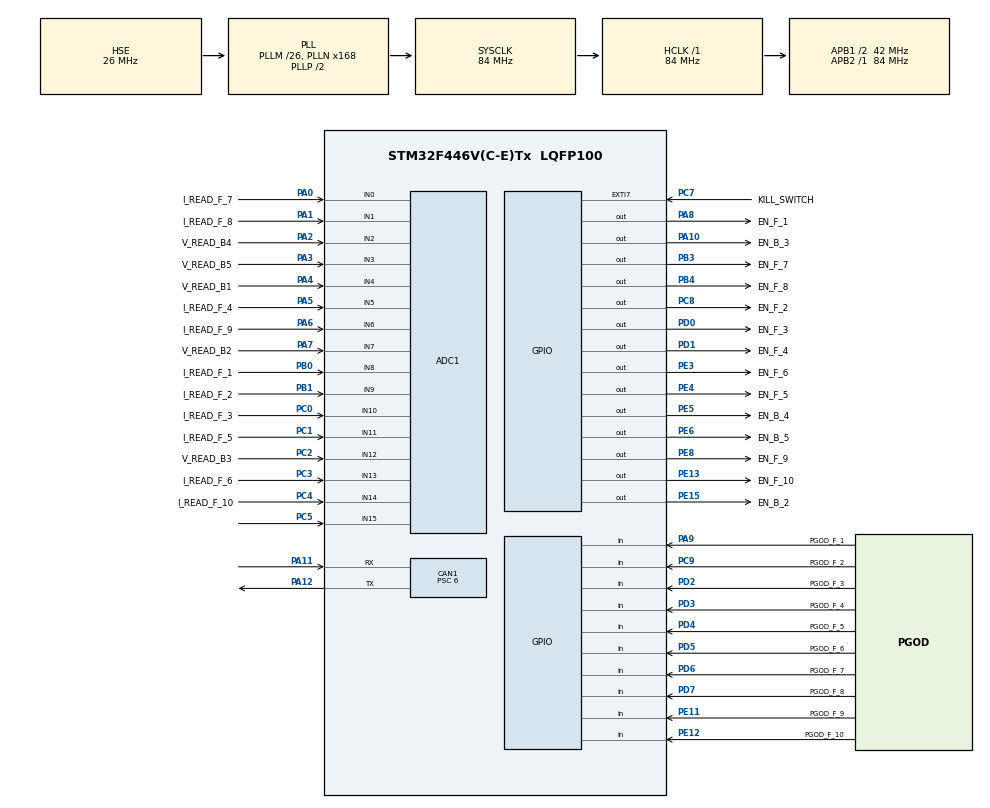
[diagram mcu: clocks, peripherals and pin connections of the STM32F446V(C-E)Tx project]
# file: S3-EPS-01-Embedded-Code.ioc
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ADC1.Channel-0\#ChannelRegularConversion=ADC_CHANNEL_8
ADC1.Channel-1\#ChannelRegularConversion=ADC_CHANNEL_9
ADC1.Channel-10\#ChannelRegularConversion=ADC_CHANNEL_4
ADC1.Channel-11\#ChannelRegularConversion=ADC_CHANNEL_7
ADC1.Channel-12\#ChannelRegularConversion=ADC_CHANNEL_15
ADC1.Channel-13\#ChannelRegularConversion=ADC_CHANNEL_2
ADC1.Channel-15\#ChannelRegularConversion=ADC_CHANNEL_3
ADC1.Channel-2\#ChannelRegularConversion=ADC_CHANNEL_10
ADC1.Channel-3\#ChannelRegularConversion=ADC_CHANNEL_5
ADC1.Channel-4\#ChannelRegularConversion=ADC_CHANNEL_11
ADC1.Channel-5\#ChannelRegularConversion=ADC_CHANNEL_13
ADC1.Channel-6\#ChannelRegularConversion=ADC_CHANNEL_0
ADC1.Channel-7\#ChannelRegularConversion=ADC_CHANNEL_1
ADC1.Channel-8\#ChannelRegularConversion=ADC_CHANNEL_6
ADC1.Channel-9\#ChannelRegularConversion=ADC_CHANNEL_14
ADC1.ContinuousConvMode=ENABLE
ADC1.DMAContinuousRequests=ENABLE
ADC1.DataAlign=ADC_DATAALIGN_RIGHT
ADC1.EOCSelection=ADC_EOC_SEQ_CONV
ADC1.NbrOfConversion=15
ADC1.NbrOfConversionFlag=1
ADC1.Rank-0\#ChannelRegularConversion=1
ADC1.Rank-1\#ChannelRegularConversion=2
ADC1.Rank-10\#ChannelRegularConversion=11
ADC1.Rank-11\#ChannelRegularConversion=12
ADC1.Rank-12\#ChannelRegularConversion=13
ADC1.Rank-13\#ChannelRegularConversion=14
ADC1.Rank-15\#ChannelRegularConversion=15
ADC1.Rank-2\#ChannelRegularConversion=3
ADC1.Rank-3\#ChannelRegularConversion=4
ADC1.Rank-4\#ChannelRegularConversion=5
ADC1.Rank-5\#ChannelRegularConversion=6
ADC1.Rank-6\#ChannelRegularConversion=7
ADC1.Rank-7\#ChannelRegularConversion=8
ADC1.Rank-8\#ChannelRegularConversion=9
ADC1.Rank-9\#ChannelRegularConversion=10
ADC1.SamplingTime-0\#ChannelRegularConversion=ADC_SAMPLETIME_480CYCLES
ADC1.SamplingTime-1\#ChannelRegularConversion=ADC_SAMPLETIME_480CYCLES
ADC1.SamplingTime-10\#ChannelRegularConversion=ADC_SAMPLETIME_480CYCLES
ADC1.SamplingTime-11\#ChannelRegularConversion=ADC_SAMPLETIME_480CYCLES
ADC1.SamplingTime-12\#ChannelRegularConversion=ADC_SAMPLETIME_480CYCLES
ADC1.SamplingTime-13\#ChannelRegularConversion=ADC_SAMPLETIME_480CYCLES
ADC1.SamplingTime-15\#ChannelRegularConversion=ADC_SAMPLETIME_480CYCLES
ADC1.SamplingTime-2\#ChannelRegularConversion=ADC_SAMPLETIME_480CYCLES
ADC1.SamplingTime-3\#ChannelRegularConversion=ADC_SAMPLETIME_480CYCLES
ADC1.SamplingTime-4\#ChannelRegularConversion=ADC_SAMPLETIME_480CYCLES
ADC1.SamplingTime-5\#ChannelRegularConversion=ADC_SAMPLETIME_480CYCLES
ADC1.SamplingTime-6\#ChannelRegularConversion=ADC_SAMPLETIME_480CYCLES
ADC1.SamplingTime-7\#ChannelRegularConversion=ADC_SAMPLETIME_480CYCLES
ADC1.SamplingTime-8\#ChannelRegularConversion=ADC_SAMPLETIME_480CYCLES
ADC1.SamplingTime-9\#ChannelRegularConversion=ADC_SAMPLETIME_480CYCLES
ADC1.ScanConvMode=ENABLE
ADC1.master=1
CAN1.BS1=CAN_BS1_11TQ
CAN1.BS2=CAN_BS2_2TQ
CAN1.CalculateBaudRate=500000
CAN1.CalculateTimeBit=2000
CAN1.CalculateTimeQuantum=142.85714285714286
CAN1.Prescaler=6
CAN1.SJW=CAN_SJW_1TQ
Dma.ADC1.0.Direction=DMA_PERIPH_TO_MEMORY
Dma.ADC1.0.FIFOMode=DMA_FIFOMODE_DISABLE
Dma.ADC1.0.Instance=DMA2_Stream0
Dma.ADC1.0.MemDataAlignment=DMA_MDATAALIGN_HALFWORD
Dma.ADC1.0.MemInc=DMA_MINC_ENABLE
Dma.ADC1.0.Mode=DMA_CIRCULAR
Dma.ADC1.0.PeriphDataAlignment=DMA_PDATAALIGN_HALFWORD
Dma.ADC1.0.PeriphInc=DMA_PINC_DISABLE
Dma.ADC1.0.Priority=DMA_PRIORITY_LOW
Dma.Request0=ADC1
Mcu.Family=STM32F4
Mcu.Name=STM32F446V(C-E)Tx
Mcu.Package=LQFP100
NVIC.CAN1_RX0_IRQn=true\:0\:0\:false\:false\:true\:true\:true\:true
NVIC.DMA2_Stream0_IRQn=true\:0\:0\:false\:false\:true\:false\:true\:true
NVIC.EXTI9_5_IRQn=true\:0\:0\:false\:false\:true\:true\:true\:true
NVIC.PriorityGroup=NVIC_PRIORITYGROUP_4
PA0-WKUP.GPIO_Label=I_READ_F_7
PA0-WKUP.Signal=ADCx_IN0
PA1.GPIO_Label=I_READ_F_8
PA1.Signal=ADCx_IN1
PA10.GPIO_Label=EN_B_3
PA10.Signal=GPIO_Output
PA11.Mode=CAN_Activate
PA11.Signal=CAN1_RX
PA12.Mode=CAN_Activate
PA12.Signal=CAN1_TX
PA2.GPIO_Label=V_READ_B4
PA2.Signal=ADCx_IN2
PA3.GPIO_Label=V_READ_B5
PA3.Signal=ADCx_IN3
PA4.GPIO_Label=V_READ_B1
PA4.Signal=ADCx_IN4
PA5.GPIO_Label=I_READ_F_4
PA5.Signal=ADCx_IN5
PA6.GPIO_Label=I_READ_F_9
PA6.Signal=ADCx_IN6
PA7.GPIO_Label=V_READ_B2
PA7.Signal=ADCx_IN7
PA8.GPIO_Label=EN_F_1
PA8.Signal=GPIO_Output
PA9.GPIO_Label=PGOD_F_1
PA9.Signal=GPIO_Input
PB0.GPIO_Label=I_READ_F_1
PB0.Signal=ADCx_IN8
PB1.GPIO_Label=I_READ_F_2
PB1.Signal=ADCx_IN9
PB3.GPIO_Label=EN_F_7
PB3.Signal=GPIO_Output
PB4.GPIO_Label=EN_F_8
PB4.Signal=GPIO_Output
PC0.GPIO_Label=I_READ_F_3
PC0.Signal=ADCx_IN10
PC1.GPIO_Label=I_READ_F_5
PC1.Signal=ADCx_IN11
PC14-OSC32_IN.Mode=LSE-External-Oscillator
PC14-OSC32_IN.Signal=RCC_OSC32_IN
PC15-OSC32_OUT.Mode=LSE-External-Oscillator
PC15-OSC32_OUT.Signal=RCC_OSC32_OUT
PC2.GPIO_Label=V_READ_B3
PC2.Signal=ADCx_IN12
PC3.GPIO_Label=I_READ_F_6
PC3.Signal=ADCx_IN13
PC4.GPIO_Label=I_READ_F_10
PC4.Signal=ADCx_IN14
PC5.Signal=ADCx_IN15
PC7.GPIO_Label=KILL_SWITCH
PC7.GPIO_ModeDefaultEXTI=GPIO_MODE_IT_RISING_FALLING
PC7.Signal=GPXTI7
PC8.GPIO_Label=EN_F_2
PC8.Signal=GPIO_Output
PC9.GPIO_Label=PGOD_F_2
PC9.Signal=GPIO_Input
PD0.GPIO_Label=EN_F_3
PD0.Signal=GPIO_Output
PD1.GPIO_Label=EN_F_4
PD1.Signal=GPIO_Output
PD2.GPIO_Label=PGOD_F_3
PD2.Signal=GPIO_Input
PD3.GPIO_Label=PGOD_F_4
PD3.Signal=GPIO_Input
PD4.GPIO_Label=PGOD_F_5
PD4.Signal=GPIO_Input
PD5.GPIO_Label=PGOD_F_6
PD5.Signal=GPIO_Input
PD6.GPIO_Label=PGOD_F_7
PD6.Signal=GPIO_Input
PD7.GPIO_Label=PGOD_F_8
PD7.Signal=GPIO_Input
PE11.GPIO_Label=PGOD_F_9
PE11.Signal=GPIO_Input
PE12.GPIO_Label=PGOD_F_10
PE12.Signal=GPIO_Input
PE13.GPIO_Label=EN_F_10
PE13.Signal=GPIO_Output
PE15.GPIO_Label=EN_B_2
PE15.Signal=GPIO_Output
PE3.GPIO_Label=EN_F_6
PE3.Signal=GPIO_Output
PE4.GPIO_Label=EN_F_5
PE4.Signal=GPIO_Output
PE5.GPIO_Label=EN_B_4
PE5.Signal=GPIO_Output
PE6.GPIO_Label=EN_B_5
PE6.Signal=GPIO_Output
PE8.GPIO_Label=EN_F_9
PE8.Signal=GPIO_Output
PH0-OSC_IN.Mode=HSE-External-Clock-Source
PH0-OSC_IN.Signal=RCC_OSC_IN
PH1-OSC_OUT.Mode=HSE-External-Clock-Source
PH1-OSC_OUT.Signal=RCC_OSC_OUT
ProjectManager.HeapSize=0x200
ProjectManager.StackSize=0x400
ProjectManager.TargetToolchain=STM32CubeIDE
RCC.AHBFreq_Value=84000000
RCC.APB1CLKDivider=RCC_HCLK_DIV2
RCC.APB1Freq_Value=42000000
RCC.APB1TimFreq_Value=84000000
RCC.APB2Freq_Value=84000000
RCC.APB2TimFreq_Value=84000000
RCC.CortexFreq_Value=84000000
RCC.HCLKFreq_Value=84000000
RCC.HSE_VALUE=26000000
RCC.PLLM=26
RCC.PLLN=168
RCC.PLLSourceVirtual=RCC_PLLSOURCE_HSE
RCC.SYSCLKFreq_VALUE=84000000
RCC.SYSCLKSource=RCC_SYSCLKSOURCE_PLLCLK
RCC.USBFreq_Value=84000000
RCC.VCOOutputFreq_Value=168000000
SH.ADCx_IN0.0=ADC1_IN0,IN0
SH.ADCx_IN1.0=ADC1_IN1,IN1
SH.ADCx_IN10.0=ADC1_IN10,IN10
SH.ADCx_IN11.0=ADC1_IN11,IN11
SH.ADCx_IN12.0=ADC1_IN12,IN12
SH.ADCx_IN13.0=ADC1_IN13,IN13
SH.ADCx_IN14.0=ADC1_IN14,IN14
SH.ADCx_IN15.0=ADC1_IN15,IN15
SH.ADCx_IN2.0=ADC1_IN2,IN2
SH.ADCx_IN3.0=ADC1_IN3,IN3
SH.ADCx_IN4.0=ADC1_IN4,IN4
SH.ADCx_IN5.0=ADC1_IN5,IN5
SH.ADCx_IN6.0=ADC1_IN6,IN6
SH.ADCx_IN7.0=ADC1_IN7,IN7
SH.ADCx_IN8.0=ADC1_IN8,IN8
SH.ADCx_IN9.0=ADC1_IN9,IN9
board=custom

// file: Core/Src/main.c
/* USER CODE BEGIN Header */
/**
  ******************************************************************************
  * @file           : main.c
  * @brief          : Main program body
  ******************************************************************************
  * @attention
  *
  * Copyright (c) 2026 STMicroelectronics.
  * All rights reserved.
  *
  * This software is licensed under terms that can be found in the LICENSE file
  * in the root directory of this software component.
  * If no LICENSE file comes with this software, it is provided AS-IS.
  *
  ******************************************************************************
  */
/* USER CODE END Header */
#include "main.h"

/* USER CODE BEGIN PTD */
typedef struct{
    uint8_t priority;
    uint8_t sender;
    uint8_t receiver;
    uint16_t message_id;
    uint8_t seq_type;
    uint8_t seq_count;
} METUCube_CAN_ID_t;

typedef struct{
  uint8_t priority;
  uint8_t sender;
  uint8_t receiver;
  uint16_t message_id;
  uint8_t seq_type;
  uint8_t seq_count;
  uint8_t dlc;
  uint8_t payload[8];
}CAN_queue_element;

typedef enum {
    PGOD_IDLE = 0,
    PGOD_WAITING,     //  waiting before next retry
    PGOD_VERIFYING    // checking if PGOOD came back
} PGOD_RetryPhase_t;

typedef struct {
    PGOD_RetryPhase_t phase;
    uint8_t           retry_count;
    uint32_t          deadline;   // HAL_GetTick target for next action
} PGOD_RetryState_t;
/* USER CODE END PTD */

/* USER CODE BEGIN PD */
#define MSG_ID_ADC_REQUEST   0x010
#define MSG_ID_ADC_RESPONSE  0x020 // bunları rastgele seçtim
#define MSG_ID_EPS_HOUSEKEEPING 0x66
#define MSG_ID_READ_VOLTAGE_CHANNEL 0x6F
#define MSG_ID_READ_CURRENT_CHANNEL 0x70
#define MSG_ID_EPS_HEARTBEAT 0x65
#define MSG_ID_POWER_GOOD_SIGNAL 0x71
#define MSG_ID_OPEN_BUCK_SIGNAL 0x72
#define MSG_ID_OPEN_CHANNEL_SIGNAL 0x73
#define MSG_ID_OBC_HEARTBEAT 0x00
#define MSG_ID_FUSE_STATE_LOG 0x97

#define CAN_QUEUE_SIZE 50
#define EPS_ID 0x03
#define BROADCAST_ID 0x0F

#define PGOD_RETRY_MAX          3
#define PGOD_RETRY_INTERVAL_MS  2500
#define PGOD_VERIFY_DELAY_MS    200

#define PGOD_EVT_FAULT      0x01   // channel shut off
#define PGOD_EVT_RETRY      0x02   // attempting to re-enable
#define PGOD_EVT_OK         0x03   // channel back online
#define PGOD_EVT_FAIL       0x04   // will try again
#define PGOD_EVT_ABANDONED  0x05   // max retries exhausted, channel stays off
/* USER CODE END PD */

ADC_HandleTypeDef hadc1;
DMA_HandleTypeDef hdma_adc1;

CAN_HandleTypeDef hcan1;

/* USER CODE BEGIN PV */
CAN_TxHeaderTypeDef txHeader;
uint8_t txData[8];
uint32_t txMailbox;
CAN_RxHeaderTypeDef rxHeader;
uint8_t rxData[8];

uint16_t resistors[10];

uint32_t last_heartbeat_time = 0;
uint32_t last_OBC_heartbeat_time = 0;
const uint32_t heartbeat_interval = 1000;
const uint32_t OBC_heartbeat_reset_time = 10000;

uint32_t resetOBCCounter = 0;
const uint32_t resetOBCCounterMax = 5;

uint8_t initProtocoleCompleted = 0;
uint8_t killSwitchActive = 0;
uint8_t killSwitchChanged = 1;
uint8_t canBusReady = 0;

volatile uint8_t high_head = 0;
volatile uint8_t low_head = 0;
volatile uint8_t high_tail = 0;
volatile uint8_t low_tail = 0;
volatile uint16_t queue_overflow_counter = 0;

CAN_queue_element high_queue[CAN_QUEUE_SIZE];
CAN_queue_element low_queue[CAN_QUEUE_SIZE];

uint32_t canRecCounter = 0;

uint16_t deger;
uint16_t deger2;
HAL_StatusTypeDef generalStatus;

typedef struct {
    GPIO_TypeDef* port;
    uint16_t      pin;
} GPIOPin_Map_t;

const GPIOPin_Map_t gpioBUCK_map[] = {
		{EN_B_2_GPIO_Port, EN_B_2_Pin}, // placeholder for int0
		{EN_B_2_GPIO_Port, EN_B_2_Pin}, // placeholder for int1
		{EN_B_2_GPIO_Port, EN_B_2_Pin}, // int2
		{EN_B_3_GPIO_Port, EN_B_3_Pin}, // int3
		{EN_B_4_GPIO_Port, EN_B_4_Pin}, // int4
		{EN_B_5_GPIO_Port, EN_B_5_Pin}  // int5
};

const GPIOPin_Map_t gpioFUSE_map[] = {
		{EN_F_1_GPIO_Port, EN_F_1_Pin}, // placeholder for int0
		{EN_F_1_GPIO_Port, EN_F_1_Pin},
		{EN_F_2_GPIO_Port, EN_F_2_Pin},
		{EN_F_3_GPIO_Port, EN_F_3_Pin},
		{EN_F_4_GPIO_Port, EN_F_4_Pin},
		{EN_F_5_GPIO_Port, EN_F_5_Pin},
		{EN_F_6_GPIO_Port, EN_F_6_Pin},
		{EN_F_7_GPIO_Port, EN_F_7_Pin},
		{EN_F_8_GPIO_Port, EN_F_8_Pin},
		{EN_F_9_GPIO_Port, EN_F_9_Pin},
		{EN_F_10_GPIO_Port, EN_F_10_Pin},
};

const GPIOPin_Map_t pgodPinMap[] = {
  {NULL, 0},
  {PGOD_F_1_GPIO_Port,  PGOD_F_1_Pin},           // ch1, placeholder not used
  {PGOD_F_2_GPIO_Port,  PGOD_F_2_Pin},           // ch2
  {PGOD_F_3_GPIO_Port,  PGOD_F_3_Pin},           // ch3
  {PGOD_F_4_GPIO_Port,  PGOD_F_4_Pin},           // ch4
  {PGOD_F_5_GPIO_Port,  PGOD_F_5_Pin},           // ch5
  {PGOD_F_6_GPIO_Port,  PGOD_F_6_Pin},           // ch6
  {PGOD_F_7_GPIO_Port,  PGOD_F_7_Pin},           // ch7
  {PGOD_F_8_GPIO_Port,  PGOD_F_8_Pin},           // ch8
  {PGOD_F_9_GPIO_Port,  PGOD_F_9_Pin},           // ch9
  {PGOD_F_10_GPIO_Port, PGOD_F_10_Pin},          // ch10
};

PGOD_RetryState_t pgodRetry[11]; // index 0 will not be used
volatile uint16_t pgodFaultFlags = 0;
/* USER CODE END PV */

void SystemClock_Config(void);
static void MX_GPIO_Init(void);
static void MX_DMA_Init(void);
static void MX_ADC1_Init(void);
static void MX_CAN1_Init(void);
/* USER CODE BEGIN PFP */

HAL_StatusTypeDef EPS_Set_Fuse_State(GPIO_TypeDef*, uint16_t, GPIO_PinState);
HAL_StatusTypeDef EPS_Set_Buck_State(GPIO_TypeDef*, uint16_t, GPIO_PinState);
HAL_StatusTypeDef RESET_OBC_CHANNEL(void);
HAL_StatusTypeDef INIT_Protocol(void);

uint32_t Build_CAN_ID_FromStruct(METUCube_CAN_ID_t *id);
HAL_StatusTypeDef CAN_Send_ADC15_Segmented(void);
HAL_StatusTypeDef CAN_Send_EPS_Heartbeat(void);
HAL_StatusTypeDef CAN_Send_EPS_Housekeeping(void);
HAL_StatusTypeDef CAN_Send_Voltages(void);
HAL_StatusTypeDef CAN_Send_Currents(void);
HAL_StatusTypeDef CAN_Send_PowerGood(void);
HAL_StatusTypeDef CAN_Verify_Open(uint16_t, uint8_t, HAL_StatusTypeDef, uint8_t);

 // newly added
uint8_t CAN_IsHighPriority(uint16_t message_id);
uint8_t CAN_QueuePush(CAN_queue_element *queue, volatile uint8_t *head, volatile uint8_t *tail,CAN_queue_element *element);
uint8_t CAN_QueuePop(CAN_queue_element *queue, volatile uint8_t *head, volatile uint8_t *tail, CAN_queue_element *element);
HAL_StatusTypeDef CAN_ProcessQueue(void);
HAL_StatusTypeDef CAN_ProcessQueueElement(CAN_queue_element *element);
HAL_StatusTypeDef Handle_OpenBuck(CAN_queue_element *element);
HAL_StatusTypeDef Handle_OpenChannel(CAN_queue_element *element);
HAL_StatusTypeDef EPS_Shutdown_All_Channels(void);

void              EPS_Reset_PGOD_States(void);
HAL_StatusTypeDef CAN_Send_PGOD_Event(uint8_t channel, uint8_t event, uint8_t retry_count, uint8_t pgood_now);
HAL_StatusTypeDef PGOD_ProcessRetry(void);

/* USER CODE END PFP */

/* USER CODE BEGIN 0 */
int errorCounter = 0;

volatile uint16_t adc_buffer[15]; // first 10 reads fuse I, remaining 5 reads buck V

GPIO_PinState killSwitchStatus;
GPIO_PinState pGodF1status;
GPIO_PinState pGodF2status;
GPIO_PinState pGodF3status;
GPIO_PinState pGodF4status;
GPIO_PinState pGodF5status;
GPIO_PinState pGodF6status;
GPIO_PinState pGodF7status;
GPIO_PinState pGodF8status;
GPIO_PinState pGodF9status;
GPIO_PinState pGodF10status;

GPIO_PinState EN7READ;
GPIO_PinState EN8READ;

static GPIO_PinState* pgodStatusVar(uint8_t ch) {
    static GPIO_PinState dummy = GPIO_PIN_RESET;
    switch (ch) {
        case 1:  return &pGodF1status;
        case 2:  return &pGodF2status;
        case 3:  return &pGodF3status;
        case 4:  return &pGodF4status;
        case 5:  return &pGodF5status;
        case 6:  return &pGodF6status;
        case 7:  return &pGodF7status;
        case 8:  return &pGodF8status;
        case 9:  return &pGodF9status;
        case 10: return &pGodF10status;
        default: return &dummy;
    }
}

HAL_StatusTypeDef EPS_Set_Fuse_State(GPIO_TypeDef* fuse_port, uint16_t fuse_pin, GPIO_PinState state){
	HAL_GPIO_WritePin(fuse_port, fuse_pin, state);
    return HAL_OK;
}

HAL_StatusTypeDef EPS_Set_Buck_State(GPIO_TypeDef* buck_port, uint16_t buck_pin, GPIO_PinState state){
	HAL_GPIO_WritePin(buck_port, buck_pin, state);
    return HAL_OK;
}
void EPS_Reset_PGOD_States(void) { // clears all PGOD retry states and fault flags
    for (uint8_t ch = 0; ch <= 10; ch++) {
        pgodRetry[ch].phase       = PGOD_IDLE;
        pgodRetry[ch].retry_count = 0;
        pgodRetry[ch].deadline    = 0;
    }
    pgodFaultFlags = 0;
}

HAL_StatusTypeDef RESET_OBC_CHANNEL(void) {
	HAL_StatusTypeDef jobStatus;

	jobStatus = EPS_Set_Fuse_State(EN_F_5_GPIO_Port, EN_F_5_Pin, GPIO_PIN_RESET);
	HAL_Delay(100);
	jobStatus = EPS_Set_Fuse_State(EN_F_5_GPIO_Port, EN_F_5_Pin, GPIO_PIN_SET);

	return jobStatus;
}

HAL_StatusTypeDef INIT_Protocol(void) {
	HAL_StatusTypeDef jobStatus;

	jobStatus = EPS_Set_Buck_State(EN_B_4_GPIO_Port, EN_B_4_Pin, GPIO_PIN_SET);
	HAL_Delay(100);
	jobStatus = EPS_Set_Fuse_State(EN_F_5_GPIO_Port, EN_F_5_Pin, GPIO_PIN_SET);

	return jobStatus;
}

uint32_t Build_CAN_ID_FromStruct(METUCube_CAN_ID_t *id) {

    uint32_t ext_id = 0;

    ext_id |= ((id->priority   & 0x03) << 27);
    ext_id |= ((id->sender     & 0x0F) << 23);
    ext_id |= ((id->receiver   & 0x0F) << 19);
    ext_id |= ((id->message_id & 0x3FF) << 9);
    ext_id |= ((id->seq_type   & 0x03) << 7);
    ext_id |= ((id->seq_count  & 0x7F));

    return ext_id;
}

uint8_t CAN_IsHighPriority(uint16_t message_id){
  return (message_id == MSG_ID_OPEN_BUCK_SIGNAL || message_id == MSG_ID_OPEN_CHANNEL_SIGNAL || message_id == MSG_ID_POWER_GOOD_SIGNAL);
}

uint8_t CAN_QueuePush(CAN_queue_element *queue, volatile uint8_t *head, volatile uint8_t *tail, CAN_queue_element *element) {
  uint8_t next = (*head + 1) % CAN_QUEUE_SIZE;
  if (next == *tail) return 0;   // queue full
  queue[*head] = *element;
  *head = next;
  return 1;
}

uint8_t CAN_QueuePop(CAN_queue_element *queue, volatile uint8_t *head, volatile uint8_t *tail, CAN_queue_element *element){
  __disable_irq();
  if (*tail == *head) {
    __enable_irq();
    return 0;   // empty
  }
  *element = queue[*tail];
  *tail = (*tail + 1) % CAN_QUEUE_SIZE;
  __enable_irq();
  return 1;
}

HAL_StatusTypeDef CAN_ProcessQueueElement(CAN_queue_element *element){

  switch (element->message_id){
    case MSG_ID_ADC_REQUEST:
    	return CAN_Send_ADC15_Segmented();
    case MSG_ID_EPS_HOUSEKEEPING:
    	return CAN_Send_EPS_Housekeeping();
    case MSG_ID_READ_VOLTAGE_CHANNEL:
    	return CAN_Send_Voltages();
    case MSG_ID_READ_CURRENT_CHANNEL:
    	return CAN_Send_Currents();
    case MSG_ID_POWER_GOOD_SIGNAL:
    	return CAN_Send_PowerGood();
    case MSG_ID_OPEN_BUCK_SIGNAL:
    	return Handle_OpenBuck(element);
    case MSG_ID_OPEN_CHANNEL_SIGNAL:
    	return Handle_OpenChannel(element);
    case MSG_ID_OBC_HEARTBEAT:
    	last_OBC_heartbeat_time = HAL_GetTick();
    	resetOBCCounter = 0;
      return HAL_OK;
    default:
      return HAL_ERROR;
    }
}

HAL_StatusTypeDef CAN_ProcessQueue(void){
  CAN_queue_element element;
  if(CAN_QueuePop(high_queue, &high_head, &high_tail, &element)){
    return CAN_ProcessQueueElement(&element);
  } else if(CAN_QueuePop(low_queue, &low_head, &low_tail, &element)){
    return CAN_ProcessQueueElement(&element);
  }
  return HAL_OK;
}

HAL_StatusTypeDef Handle_OpenBuck(CAN_queue_element *element){
  if(element->dlc < 5) return HAL_ERROR;
  uint16_t buck_id = element->payload[0] | (element->payload[1] << 8);
  uint8_t is_to_open = element->payload[4];

  if(buck_id < 2 || buck_id > 5) return CAN_Verify_Open(buck_id, MSG_ID_OPEN_BUCK_SIGNAL, HAL_ERROR, is_to_open); // invalid buck id

  if(is_to_open){
    generalStatus = EPS_Set_Buck_State(gpioBUCK_map[buck_id].port, gpioBUCK_map[buck_id].pin, GPIO_PIN_SET);
  } else {
    generalStatus = EPS_Set_Buck_State(gpioBUCK_map[buck_id].port, gpioBUCK_map[buck_id].pin, GPIO_PIN_RESET);
  }
  return CAN_Verify_Open(buck_id, MSG_ID_OPEN_BUCK_SIGNAL, generalStatus, is_to_open);
}

HAL_StatusTypeDef Handle_OpenChannel(CAN_queue_element *element){
  if(element->dlc < 5) return HAL_ERROR;
  uint16_t channel_id = element->payload[0] | (element->payload[1] << 8);
  uint8_t is_to_open = element->payload[4];
  if(channel_id < 1 || channel_id > 10) return CAN_Verify_Open(channel_id, MSG_ID_OPEN_CHANNEL_SIGNAL, HAL_ERROR, is_to_open);

  if(is_to_open){
    generalStatus = EPS_Set_Fuse_State(gpioFUSE_map[channel_id].port, gpioFUSE_map[channel_id].pin, GPIO_PIN_SET);
  } else {
    generalStatus = EPS_Set_Fuse_State(gpioFUSE_map[channel_id].port, gpioFUSE_map[channel_id].pin, GPIO_PIN_RESET);
  }
  return CAN_Verify_Open(channel_id, MSG_ID_OPEN_CHANNEL_SIGNAL, generalStatus, is_to_open);
}

HAL_StatusTypeDef CAN_Send_ADC15_Segmented(void){

	METUCube_CAN_ID_t can_id;
	for(uint8_t segment_number = 0; segment_number<4; segment_number++ ){
		can_id.priority = 0x03; //low
		can_id.sender = 0x03; //eps
		can_id.receiver = 0x00; //obc
		can_id.message_id = MSG_ID_ADC_RESPONSE;

		can_id.seq_count = segment_number;

		if (segment_number == 0) can_id.seq_type = 0x01; // first
		if (segment_number == 3) can_id.seq_type = 0x02;
		if (segment_number == 1 || segment_number == 2) can_id.seq_type = 0x00;

		txHeader.ExtId = Build_CAN_ID_FromStruct(&can_id);
		txHeader.IDE = CAN_ID_EXT;
		txHeader.RTR = CAN_RTR_DATA;
		if (segment_number == 3) {
			txHeader.DLC = 6;
		}else {
			txHeader.DLC = 8;
		}
		txHeader.TransmitGlobalTime = DISABLE;

		uint8_t buffer_start = segment_number*4;

		for(uint8_t i = 0; i<4; i++){
			uint8_t adc_index = buffer_start+i;

			if(adc_index < 15){
				txData[2*i] = (uint8_t) (adc_buffer[adc_index] & 0xFF); // lower 8 bits
				txData[2*i +1] = (uint8_t) ((adc_buffer[adc_index] >>8) & 0xFF);
			}else{
				txData[2*i] = 0;
				txData[2*i +1] = 0;
			}
		}
		HAL_StatusTypeDef status = HAL_CAN_AddTxMessage(&hcan1, &txHeader, txData, &txMailbox);
    if (status != HAL_OK) return status;

		HAL_Delay(2);

	}
	return HAL_OK;
}

HAL_StatusTypeDef CAN_Send_EPS_Heartbeat(void){
	METUCube_CAN_ID_t can_id;
	can_id.priority = 0x03;
	can_id.sender = 0x03;
	can_id.receiver = 0x00;
	can_id.message_id = MSG_ID_EPS_HEARTBEAT;
	can_id.seq_type = 0x03;
	can_id.seq_count = 0;

	txHeader.ExtId = Build_CAN_ID_FromStruct(&can_id);
	txHeader.IDE = CAN_ID_EXT;
	txHeader.RTR = CAN_RTR_DATA;
	txHeader.DLC = 1;
	txHeader.TransmitGlobalTime = DISABLE;

	txData[0] = 0x65;

	return HAL_CAN_AddTxMessage(&hcan1, &txHeader, txData, &txMailbox);

}

HAL_StatusTypeDef CAN_Send_EPS_Housekeeping(void){
	METUCube_CAN_ID_t can_id;
	uint8_t payload[22];
	// current readings
	for (uint8_t i = 0; i<10; i++){
		float adc_voltage = (adc_buffer[i] * 3.3f) / 4095.0f;
		float current = (adc_voltage / (float)resistors[i]) * 20600.0f;
		if (current < 0.0f) current = 0.0f;
		if (current > 6.18f) current = 6.18f;
		payload[i] = (uint8_t)((current * 255.0f) / 6.18f);
	}

	// voltage readings
	for(uint8_t i = 0; i<5; i++){
		uint16_t voltage = (uint16_t)((adc_buffer[10+i] * 3300.0f / 4095.0f) * ((47000.0f + 15800.0f) / 15800.0f));
		payload[10 + 2*i] = (uint8_t) (voltage & 0xFF); // lower bitleri yazıyo
		payload[10 + 2*i +1] = (uint8_t)((voltage >> 8) & 0xFF); // higher bits
	}

	uint16_t pgod_bits = 0;
	pgod_bits |= ((pGodF1status  == GPIO_PIN_SET) ? 1 : 0);
	pgod_bits |= ((pGodF2status  == GPIO_PIN_SET) ? 1 : 0) << 1;
	pgod_bits |= ((pGodF3status  == GPIO_PIN_SET) ? 1 : 0) << 2;
	pgod_bits |= ((pGodF4status  == GPIO_PIN_SET) ? 1 : 0) << 3;
	pgod_bits |= ((pGodF5status  == GPIO_PIN_SET) ? 1 : 0) << 4;
	pgod_bits |= ((pGodF6status  == GPIO_PIN_SET) ? 1 : 0) << 5;
	pgod_bits |= ((pGodF7status  == GPIO_PIN_SET) ? 1 : 0) << 6;
	pgod_bits |= ((pGodF8status  == GPIO_PIN_SET) ? 1 : 0) << 7;
  pgod_bits |= ((pGodF9status  == GPIO_PIN_SET) ? 1 : 0) << 8;
  pgod_bits |= ((pGodF10status == GPIO_PIN_SET) ? 1 : 0) << 9;

  payload[20] = (uint8_t)(pgod_bits & 0xFF);  // lower
  payload[21] = (uint8_t)((pgod_bits >> 8) & 0xFF); // higher

  can_id.priority = 0x03;
  can_id.sender = 0x03;
  can_id.receiver = 0x00;
  can_id.message_id = MSG_ID_EPS_HOUSEKEEPING;

	for(uint8_t segment_number = 0; segment_number<3; segment_number++){
		can_id.seq_count = segment_number;
		if(segment_number == 0) can_id.seq_type = 0x01;
		if(segment_number == 1) can_id.seq_type = 0x00;
		if(segment_number == 2) can_id.seq_type = 0x02;

		txHeader.ExtId = Build_CAN_ID_FromStruct(&can_id);
		txHeader.IDE = CAN_ID_EXT;
		txHeader.RTR = CAN_RTR_DATA;
		txHeader.TransmitGlobalTime = DISABLE;

		if(segment_number == 0){
			txData[0] = payload[0];
			txData[1] = payload[1];
			txData[2] = payload[2];
			txData[3] = payload[3];
			txData[4] = payload[4];
			txData[5] = payload[5];
			txData[6] = payload[6];
			txData[7] = payload[7];
			txHeader.DLC = 8;
		} else if(segment_number == 1){
			txData[0] = payload[8];
			txData[1] = payload[9];
			txData[2] = payload[10];
			txData[3] = payload[11];
			txData[4] = payload[12];
			txData[5] = payload[13];
			txData[6] = payload[14];
			txData[7] = payload[15];
			txHeader.DLC = 8;
		} else if(segment_number == 2){
			txData[0] = payload[16];
			txData[1] = payload[17];
			txData[2] = payload[18];
			txData[3] = payload[19];
			txData[4] = payload[20];
			txData[5] = payload[21];
			txHeader.DLC = 6;
		}
		HAL_StatusTypeDef status = HAL_CAN_AddTxMessage(&hcan1, &txHeader, txData, &txMailbox);
		if (status != HAL_OK) {
			return status;
		}
		HAL_Delay(2);

	}
  return HAL_OK;
}

HAL_StatusTypeDef CAN_Send_Voltages(void){
	METUCube_CAN_ID_t can_id;
	uint8_t payload[10];
	uint16_t voltage1 = (uint16_t)((adc_buffer[10] * 3300.0f / 4095.0f) * ((47000.0f + 15800.0f) / 15800.0f));
	uint16_t voltage2 = (uint16_t)((adc_buffer[11] * 3300.0f / 4095.0f) * ((47000.0f + 15800.0f) / 15800.0f));
	uint16_t voltage3 = (uint16_t)((adc_buffer[12] * 3300.0f / 4095.0f) * ((47000.0f + 15800.0f) / 15800.0f));
	uint16_t voltage4 = (uint16_t)((adc_buffer[13] * 3300.0f / 4095.0f) * ((47000.0f + 15800.0f) / 15800.0f));
	uint16_t voltage5 = (uint16_t)((adc_buffer[14] * 3300.0f / 4095.0f) * ((47000.0f + 15800.0f) / 15800.0f));

	payload[0] = voltage1 & 0xFF; //lower
	payload[1] = (voltage1>>8) & 0xFF; //higher

	payload[2] = voltage2 & 0xFF; //lower
	payload[3] = (voltage2>>8) & 0xFF; //higher

	payload[4] = voltage3 & 0xFF; //lower
	payload[5] = (voltage3>>8) & 0xFF; //higher

	payload[6] = voltage4 & 0xFF; //lower
	payload[7] = (voltage4>>8) & 0xFF; //higher

	payload[8] = voltage5& 0xFF; //lower
	payload[9] = (voltage5>>8) & 0xFF; //higher

	can_id.priority = 0x03;
	can_id.sender = 0x03;
	can_id.receiver = 0x00;
	can_id.message_id =  MSG_ID_READ_VOLTAGE_CHANNEL;

	for(uint8_t segment_number = 0; segment_number<2; segment_number ++ ){
		can_id.seq_count = segment_number;

		if(segment_number == 0) can_id.seq_type = 0x01;
		if(segment_number == 1) can_id.seq_type = 0x02;

		txHeader.ExtId = Build_CAN_ID_FromStruct(&can_id);
		txHeader.IDE = CAN_ID_EXT;
		txHeader.RTR = CAN_RTR_DATA;
		txHeader.TransmitGlobalTime = DISABLE;

		if(segment_number == 0){
			txHeader.DLC = 8;
			txData[0]=payload[0];
			txData[1] = payload[1];
			txData[2] = payload[2];
			txData[3] = payload[3];
			txData[4] = payload[4];
			txData[5] = payload[5];
			txData[6] = payload[6];
			txData[7] = payload[7];
		}else{
			txHeader.DLC = 2;
			txData[0] = payload[8];
			txData[1] = payload[9];
		}
		HAL_StatusTypeDef status = HAL_CAN_AddTxMessage(&hcan1, &txHeader, txData, &txMailbox);
		if (status != HAL_OK) {
			return status;
		}
		HAL_Delay(2);
	}
  return HAL_OK;

}

HAL_StatusTypeDef CAN_Send_Currents(void){
    METUCube_CAN_ID_t can_id;
    uint8_t payload[10];

    for (uint8_t i = 0; i < 10; i++){
    	float adc_voltage = (adc_buffer[i] * 3.3f) / 4095.0f;
    	float current = (adc_voltage / (float)resistors[i]) * 20600.0f;
    	if (current < 0.0f) current = 0.0f;
    	if (current > 6.18f) current = 6.18f;
    	payload[i] = (uint8_t)((current* 255.0f) / 6.18f);
    }

    can_id.priority = 0x03;
    can_id.sender = 0x03;
    can_id.receiver = 0x00;
    can_id.message_id = MSG_ID_READ_CURRENT_CHANNEL;

    for (uint8_t segment_number = 0; segment_number < 2; segment_number++)
    {
        can_id.seq_count = segment_number;

        if (segment_number == 0)
            can_id.seq_type = 0x01;   // first
        else
            can_id.seq_type = 0x02;   // last

        txHeader.ExtId = Build_CAN_ID_FromStruct(&can_id);
        txHeader.IDE = CAN_ID_EXT;
        txHeader.RTR = CAN_RTR_DATA;
        txHeader.TransmitGlobalTime = DISABLE;

        if (segment_number == 0)
        {
            txHeader.DLC = 8;

            txData[0] = payload[0];
            txData[1] = payload[1];
            txData[2] = payload[2];
            txData[3] = payload[3];
            txData[4] = payload[4];
            txData[5] = payload[5];
            txData[6] = payload[6];
            txData[7] = payload[7];
        }
        else
        {
            txHeader.DLC = 2;

            txData[0] = payload[8];
            txData[1] = payload[9];
        }

        HAL_StatusTypeDef status = HAL_CAN_AddTxMessage(&hcan1, &txHeader, txData, &txMailbox);
        if (status != HAL_OK) {
            return status;
        }
        HAL_Delay(2);
    }
  return HAL_OK;
}

HAL_StatusTypeDef CAN_Verify_Open(uint16_t channelBuckId, uint8_t messageId, HAL_StatusTypeDef endStatus, uint8_t isToOpen){
    METUCube_CAN_ID_t can_id;
    can_id.priority = 0x03;
    can_id.sender = 0x03;
    can_id.receiver = 0x00;
    can_id.message_id = messageId;
    can_id.seq_type = 0x03;
	  can_id.seq_count = 0x00;

	uint8_t statusToSend = (uint8_t)endStatus;

	txData[0] = channelBuckId & 0xFF;
	txData[1] = (channelBuckId >> 8) & 0xFF;
	txData[2] = statusToSend & 0xFF;
	txData[3] = (statusToSend >> 8) & 0xFF;
	txData[4] = isToOpen;

    txHeader.ExtId = Build_CAN_ID_FromStruct(&can_id);
    txHeader.IDE = CAN_ID_EXT;
    txHeader.RTR = CAN_RTR_DATA;
    txHeader.TransmitGlobalTime = DISABLE;
    txHeader.DLC = 5;

  return HAL_CAN_AddTxMessage(&hcan1, &txHeader, txData, &txMailbox);

}

HAL_StatusTypeDef CAN_Send_PowerGood(void){

    METUCube_CAN_ID_t can_id;
    uint16_t power_good = 0;

    power_good |= ((pGodF1status  == GPIO_PIN_SET) ? 1 : 0);
    power_good |= ((pGodF2status  == GPIO_PIN_SET) ? 1 : 0) << 1;
    power_good |= ((pGodF3status  == GPIO_PIN_SET) ? 1 : 0) << 2;
    power_good |= ((pGodF4status  == GPIO_PIN_SET) ? 1 : 0) << 3;
    power_good |= ((pGodF5status  == GPIO_PIN_SET) ? 1 : 0) << 4;
    power_good |= ((pGodF6status  == GPIO_PIN_SET) ? 1 : 0) << 5;
    power_good |= ((pGodF7status  == GPIO_PIN_SET) ? 1 : 0) << 6;
    power_good |= ((pGodF8status  == GPIO_PIN_SET) ? 1 : 0) << 7;
    power_good |= ((pGodF9status  == GPIO_PIN_SET) ? 1 : 0) << 8;
    power_good |= ((pGodF10status == GPIO_PIN_SET) ? 1 : 0) << 9;

    can_id.priority = 0x03;
    can_id.sender = 0x03;      // EPS
    can_id.receiver = 0x00;    // OBC
    can_id.message_id = MSG_ID_POWER_GOOD_SIGNAL;
    can_id.seq_type = 0x03;    // unsegmented
    can_id.seq_count = 0;

    txHeader.ExtId = Build_CAN_ID_FromStruct(&can_id);
    txHeader.IDE = CAN_ID_EXT;
    txHeader.RTR = CAN_RTR_DATA;
    txHeader.DLC = 2;
    txHeader.TransmitGlobalTime = DISABLE;
    txData[0] = (uint8_t)(power_good & 0xFF);
    txData[1] = (uint8_t)((power_good >> 8) & 0xFF);
    return HAL_CAN_AddTxMessage(&hcan1, &txHeader, txData, &txMailbox);
}

HAL_StatusTypeDef EPS_Shutdown_All_Channels(void){
  EPS_Set_Buck_State(EN_B_2_GPIO_Port, EN_B_2_Pin, GPIO_PIN_RESET);
  EPS_Set_Buck_State(EN_B_3_GPIO_Port, EN_B_3_Pin, GPIO_PIN_RESET);
  EPS_Set_Buck_State(EN_B_4_GPIO_Port, EN_B_4_Pin, GPIO_PIN_RESET);
  EPS_Set_Buck_State(EN_B_5_GPIO_Port, EN_B_5_Pin, GPIO_PIN_RESET);
  EPS_Set_Fuse_State(EN_F_1_GPIO_Port, EN_F_1_Pin, GPIO_PIN_RESET);
  EPS_Set_Fuse_State(EN_F_2_GPIO_Port, EN_F_2_Pin, GPIO_PIN_RESET);
  EPS_Set_Fuse_State(EN_F_3_GPIO_Port, EN_F_3_Pin, GPIO_PIN_RESET);
  EPS_Set_Fuse_State(EN_F_4_GPIO_Port, EN_F_4_Pin, GPIO_PIN_RESET);
  EPS_Set_Fuse_State(EN_F_5_GPIO_Port, EN_F_5_Pin, GPIO_PIN_RESET);
  EPS_Set_Fuse_State(EN_F_6_GPIO_Port, EN_F_6_Pin, GPIO_PIN_RESET);
  EPS_Set_Fuse_State(EN_F_7_GPIO_Port, EN_F_7_Pin, GPIO_PIN_RESET);
  EPS_Set_Fuse_State(EN_F_8_GPIO_Port, EN_F_8_Pin, GPIO_PIN_RESET);
  EPS_Set_Fuse_State(EN_F_9_GPIO_Port, EN_F_9_Pin, GPIO_PIN_RESET);
  EPS_Set_Fuse_State(EN_F_10_GPIO_Port, EN_F_10_Pin, GPIO_PIN_RESET);
  EPS_Reset_PGOD_States();
  return HAL_OK;
}

HAL_StatusTypeDef CAN_Send_PGOD_Event(uint8_t channel, uint8_t event, uint8_t retry_count, uint8_t pgood_now){
    if (!canBusReady) return HAL_OK;   // silently skip before CAN is up

    METUCube_CAN_ID_t can_id;
    can_id.priority   = 0x01;          // high priority
    can_id.sender     = EPS_ID;
    can_id.receiver   = 0x00;          // OBC
    can_id.message_id = MSG_ID_FUSE_STATE_LOG;
    can_id.seq_type   = 0x03;
    can_id.seq_count  = 0;

    txHeader.ExtId = Build_CAN_ID_FromStruct(&can_id);
    txHeader.IDE   = CAN_ID_EXT;
    txHeader.RTR   = CAN_RTR_DATA;
    txHeader.DLC   = 4;
    txHeader.TransmitGlobalTime = DISABLE;

    txData[0] = channel;
    txData[1] = event;
    txData[2] = retry_count;
    txData[3] = pgood_now;

    return HAL_CAN_AddTxMessage(&hcan1, &txHeader, txData, &txMailbox);
}
HAL_StatusTypeDef PGOD_ProcessRetry(void) {
    HAL_StatusTypeDef ret = HAL_OK;
    uint32_t now = HAL_GetTick();

    /* Phase 0: pick up new faults set by ISR */
    uint16_t flags;
    __disable_irq();
    flags = pgodFaultFlags;
    pgodFaultFlags = 0;
    __enable_irq();

    for (uint8_t ch = 2; ch <= 10; ch++) {
        if (!(flags & (1 << ch))) continue;
        if (pgodRetry[ch].phase != PGOD_IDLE) continue;   // already retrying

        /* Channel was just shut off by ISR — notify OBC and start retry */
        *pgodStatusVar(ch) = GPIO_PIN_RESET;
        if (CAN_Send_PGOD_Event(ch, PGOD_EVT_FAULT, 0, 0) != HAL_OK) ret = HAL_ERROR;

        pgodRetry[ch].phase       = PGOD_WAITING;
        pgodRetry[ch].retry_count = 0;
        pgodRetry[ch].deadline    = now + PGOD_RETRY_INTERVAL_MS;
    }

    /* process active retries  */
    for (uint8_t ch = 2; ch <= 10; ch++) {
        PGOD_RetryState_t *st = &pgodRetry[ch];

        if (st->phase == PGOD_WAITING) {
            if ((int32_t)(now - st->deadline) < 0) continue;

            st->retry_count++;

            /* Re-enable the channel */
            EPS_Set_Fuse_State(gpioFUSE_map[ch].port, gpioFUSE_map[ch].pin, GPIO_PIN_SET);
            if (CAN_Send_PGOD_Event(ch, PGOD_EVT_RETRY, st->retry_count, 0) != HAL_OK) ret = HAL_ERROR;
            st->phase    = PGOD_VERIFYING;
            st->deadline = now + PGOD_VERIFY_DELAY_MS;

        } else if (st->phase == PGOD_VERIFYING) {
            if ((int32_t)(now - st->deadline) < 0) continue;

            GPIO_PinState pgood = HAL_GPIO_ReadPin(pgodPinMap[ch].port, pgodPinMap[ch].pin);
            *pgodStatusVar(ch) = pgood;

            if (pgood == GPIO_PIN_SET) {
                /*  channel is back online */
                if (CAN_Send_PGOD_Event(ch, PGOD_EVT_OK, st->retry_count, 1) != HAL_OK) ret = HAL_ERROR;
                st->phase = PGOD_IDLE;
            } else {
                /* shut off and decide */
                EPS_Set_Fuse_State(gpioFUSE_map[ch].port, gpioFUSE_map[ch].pin, GPIO_PIN_RESET);

                if (st->retry_count < PGOD_RETRY_MAX) {
                     if (CAN_Send_PGOD_Event(ch, PGOD_EVT_FAIL, st->retry_count, 0) != HAL_OK) ret = HAL_ERROR;
                    st->phase    = PGOD_WAITING;
                    st->deadline = now + PGOD_RETRY_INTERVAL_MS;
                } else {
                    /* Give up */
                    if (CAN_Send_PGOD_Event(ch, PGOD_EVT_ABANDONED, st->retry_count, 0) != HAL_OK) ret = HAL_ERROR;
                    st->phase = PGOD_IDLE;
                }
            }
        }
    }
    return ret;
}
/* USER CODE END 0 */

int main(void)
{

  /* MCU Configuration--------------------------------------------------------*/

  /* Reset of all peripherals, Initializes the Flash interface and the Systick. */
  HAL_Init();

  /* Configure the system clock */
  SystemClock_Config();

  /* Initialize all configured peripherals */
  MX_GPIO_Init();
  MX_DMA_Init();
  MX_ADC1_Init();
  MX_CAN1_Init();
  /* USER CODE BEGIN 2 */
  if(EPS_Set_Buck_State(EN_B_2_GPIO_Port, EN_B_2_Pin, GPIO_PIN_RESET) == HAL_OK) {} else {errorCounter++;};
  if(EPS_Set_Buck_State(EN_B_3_GPIO_Port, EN_B_3_Pin, GPIO_PIN_RESET) == HAL_OK) {} else {errorCounter++;};
  if(EPS_Set_Buck_State(EN_B_4_GPIO_Port, EN_B_4_Pin, GPIO_PIN_RESET) == HAL_OK) {} else {errorCounter++;};
  if(EPS_Set_Buck_State(EN_B_5_GPIO_Port, EN_B_5_Pin, GPIO_PIN_RESET) == HAL_OK) {} else {errorCounter++;};

  HAL_Delay(100);

  if(EPS_Set_Fuse_State(EN_F_1_GPIO_Port, EN_F_1_Pin, GPIO_PIN_RESET) == HAL_OK) {} else {errorCounter++;};
  if(EPS_Set_Fuse_State(EN_F_2_GPIO_Port, EN_F_2_Pin, GPIO_PIN_RESET) == HAL_OK) {} else {errorCounter++;};
  if(EPS_Set_Fuse_State(EN_F_3_GPIO_Port, EN_F_3_Pin, GPIO_PIN_RESET) == HAL_OK) {} else {errorCounter++;};
  if(EPS_Set_Fuse_State(EN_F_4_GPIO_Port, EN_F_4_Pin, GPIO_PIN_RESET) == HAL_OK) {} else {errorCounter++;};
  if(EPS_Set_Fuse_State(EN_F_5_GPIO_Port, EN_F_5_Pin, GPIO_PIN_RESET) == HAL_OK) {} else {errorCounter++;};
  if(EPS_Set_Fuse_State(EN_F_6_GPIO_Port, EN_F_6_Pin, GPIO_PIN_RESET) == HAL_OK) {} else {errorCounter++;};
  if(EPS_Set_Fuse_State(EN_F_7_GPIO_Port, EN_F_7_Pin, GPIO_PIN_RESET) == HAL_OK) {} else {errorCounter++;};
  if(EPS_Set_Fuse_State(EN_F_8_GPIO_Port, EN_F_8_Pin, GPIO_PIN_RESET) == HAL_OK) {} else {errorCounter++;};
  if(EPS_Set_Fuse_State(EN_F_9_GPIO_Port, EN_F_9_Pin, GPIO_PIN_RESET) == HAL_OK) {} else {errorCounter++;};
  if(EPS_Set_Fuse_State(EN_F_10_GPIO_Port, EN_F_10_Pin, GPIO_PIN_RESET) == HAL_OK) {} else {errorCounter++;};

  HAL_Delay(500);

  EPS_Reset_PGOD_States();
  // start DMA for V and I Read
  if(HAL_ADC_Start_DMA(&hadc1, (uint32_t*)adc_buffer, 15) != HAL_OK){
	  errorCounter++;
  }

  CAN_FilterTypeDef canFilter;

  canFilter.FilterActivation = CAN_FILTER_ENABLE;
  canFilter.FilterBank = 0;
  canFilter.FilterFIFOAssignment = CAN_FILTER_FIFO0;
  canFilter.FilterIdHigh = 0x0000;
  canFilter.FilterIdLow = 0x0000;
  canFilter.FilterMaskIdHigh = 0x0000;
  canFilter.FilterMaskIdLow = 0x0000;
  canFilter.FilterMode = CAN_FILTERMODE_IDMASK;
  canFilter.FilterScale = CAN_FILTERSCALE_32BIT;
  canFilter.SlaveStartFilterBank = 14;

  if(HAL_CAN_ConfigFilter(&hcan1, &canFilter) != HAL_OK) {
      errorCounter++;
  }
  if(HAL_CAN_Start(&hcan1) != HAL_OK) {
      errorCounter++;
  } else {
    canBusReady = 1;
  }

  if(HAL_CAN_ActivateNotification(&hcan1, CAN_IT_RX_FIFO0_MSG_PENDING) != HAL_OK) {
      errorCounter++;
  }

  for(uint8_t i = 0; i<10; i++){
  		resistors[i] = 2000;
  	}
  /* USER CODE END 2 */

  /* Infinite loop */
  while (1)
  {

    /* USER CODE BEGIN 3 */
    if (killSwitchChanged){
      killSwitchChanged = 0;

      killSwitchStatus = HAL_GPIO_ReadPin(GPIOC, KILL_SWITCH_Pin);

      if (killSwitchStatus == GPIO_PIN_RESET){
    	    EPS_Shutdown_All_Channels();
        	initProtocoleCompleted = 0;
        	killSwitchActive = 1;
      } else{
    	  	  killSwitchActive = 0;
      }
    }

    if (killSwitchActive) {
        HAL_SuspendTick();
        HAL_PWR_EnterSLEEPMode(PWR_MAINREGULATOR_ON, PWR_SLEEPENTRY_WFI);
        HAL_ResumeTick();
        continue;
    }

  if (initProtocoleCompleted == 0){
    if (INIT_Protocol() == HAL_OK){
      initProtocoleCompleted = 1;
    }
  }
	  pGodF1status = HAL_GPIO_ReadPin(PGOD_F_1_GPIO_Port, PGOD_F_1_Pin);
	  pGodF2status = HAL_GPIO_ReadPin(PGOD_F_2_GPIO_Port, PGOD_F_2_Pin);
	  pGodF3status = HAL_GPIO_ReadPin(PGOD_F_3_GPIO_Port, PGOD_F_3_Pin);
	  pGodF4status = HAL_GPIO_ReadPin(PGOD_F_4_GPIO_Port, PGOD_F_4_Pin);
	  pGodF5status = HAL_GPIO_ReadPin(PGOD_F_5_GPIO_Port, PGOD_F_5_Pin);
	  pGodF6status = HAL_GPIO_ReadPin(PGOD_F_6_GPIO_Port, PGOD_F_6_Pin);
	  pGodF7status = HAL_GPIO_ReadPin(PGOD_F_7_GPIO_Port, PGOD_F_7_Pin);
	  pGodF8status = HAL_GPIO_ReadPin(PGOD_F_8_GPIO_Port, PGOD_F_8_Pin);
	  pGodF9status = HAL_GPIO_ReadPin(PGOD_F_9_GPIO_Port, PGOD_F_9_Pin);
	  pGodF10status = HAL_GPIO_ReadPin(PGOD_F_10_GPIO_Port, PGOD_F_10_Pin);

	  if(HAL_GetTick() - last_heartbeat_time >= heartbeat_interval) {
		  last_heartbeat_time = HAL_GetTick();
	      if(CAN_Send_EPS_Heartbeat() != HAL_OK) {
	          errorCounter++;
	      }
	  }

	  if(HAL_GetTick() - last_OBC_heartbeat_time >= OBC_heartbeat_reset_time && resetOBCCounter <= resetOBCCounterMax) {
		  // reset OBC, this assumes EPS is working perfectly
		  if(RESET_OBC_CHANNEL() != HAL_OK) {
			  errorCounter++;
		  }
		  resetOBCCounter++;
	  }

	  if(CAN_ProcessQueue() != HAL_OK) {
		  errorCounter++;
	  }

     if(PGOD_ProcessRetry() != HAL_OK) errorCounter++;

  }
  /* USER CODE END 3 */
}

void SystemClock_Config(void)
{
  RCC_OscInitTypeDef RCC_OscInitStruct = {0};
  RCC_ClkInitTypeDef RCC_ClkInitStruct = {0};

  /** Configure the main internal regulator output voltage
  */
  __HAL_RCC_PWR_CLK_ENABLE();
  __HAL_PWR_VOLTAGESCALING_CONFIG(PWR_REGULATOR_VOLTAGE_SCALE3);

  /** Initializes the RCC Oscillators according to the specified parameters
  * in the RCC_OscInitTypeDef structure.
  */
  RCC_OscInitStruct.OscillatorType = RCC_OSCILLATORTYPE_HSE;
  RCC_OscInitStruct.HSEState = RCC_HSE_BYPASS;
  RCC_OscInitStruct.PLL.PLLState = RCC_PLL_ON;
  RCC_OscInitStruct.PLL.PLLSource = RCC_PLLSOURCE_HSE;
  RCC_OscInitStruct.PLL.PLLM = 26;
  RCC_OscInitStruct.PLL.PLLN = 168;
  RCC_OscInitStruct.PLL.PLLP = RCC_PLLP_DIV2;
  RCC_OscInitStruct.PLL.PLLQ = 2;
  RCC_OscInitStruct.PLL.PLLR = 2;
  if (HAL_RCC_OscConfig(&RCC_OscInitStruct) != HAL_OK)
  {
    Error_Handler();
  }

  /** Initializes the CPU, AHB and APB buses clocks
  */
  RCC_ClkInitStruct.ClockType = RCC_CLOCKTYPE_HCLK|RCC_CLOCKTYPE_SYSCLK
                              |RCC_CLOCKTYPE_PCLK1|RCC_CLOCKTYPE_PCLK2;
  RCC_ClkInitStruct.SYSCLKSource = RCC_SYSCLKSOURCE_PLLCLK;
  RCC_ClkInitStruct.AHBCLKDivider = RCC_SYSCLK_DIV1;
  RCC_ClkInitStruct.APB1CLKDivider = RCC_HCLK_DIV2;
  RCC_ClkInitStruct.APB2CLKDivider = RCC_HCLK_DIV1;

  if (HAL_RCC_ClockConfig(&RCC_ClkInitStruct, FLASH_LATENCY_2) != HAL_OK)
  {
    Error_Handler();
  }
}

static void MX_ADC1_Init(void)
{

  ADC_ChannelConfTypeDef sConfig = {0};

  /** Configure the global features of the ADC (Clock, Resolution, Data Alignment and number of conversion)
  */
  hadc1.Instance = ADC1;
  hadc1.Init.ClockPrescaler = ADC_CLOCK_SYNC_PCLK_DIV4;
  hadc1.Init.Resolution = ADC_RESOLUTION_12B;
  hadc1.Init.ScanConvMode = ENABLE;
  hadc1.Init.ContinuousConvMode = ENABLE;
  hadc1.Init.DiscontinuousConvMode = DISABLE;
  hadc1.Init.ExternalTrigConvEdge = ADC_EXTERNALTRIGCONVEDGE_NONE;
  hadc1.Init.ExternalTrigConv = ADC_SOFTWARE_START;
  hadc1.Init.DataAlign = ADC_DATAALIGN_RIGHT;
  hadc1.Init.NbrOfConversion = 15;
  hadc1.Init.DMAContinuousRequests = ENABLE;
  hadc1.Init.EOCSelection = ADC_EOC_SEQ_CONV;
  if (HAL_ADC_Init(&hadc1) != HAL_OK)
  {
    Error_Handler();
  }

  /** Configure for the selected ADC regular channel its corresponding rank in the sequencer and its sample time.
  */
  sConfig.Channel = ADC_CHANNEL_8;
  sConfig.Rank = 1;
  sConfig.SamplingTime = ADC_SAMPLETIME_480CYCLES;
  if (HAL_ADC_ConfigChannel(&hadc1, &sConfig) != HAL_OK)
  {
    Error_Handler();
  }

  /** Configure for the selected ADC regular channel its corresponding rank in the sequencer and its sample time.
  */
  sConfig.Channel = ADC_CHANNEL_9;
  sConfig.Rank = 2;
  if (HAL_ADC_ConfigChannel(&hadc1, &sConfig) != HAL_OK)
  {
    Error_Handler();
  }

  /** Configure for the selected ADC regular channel its corresponding rank in the sequencer and its sample time.
  */
  sConfig.Channel = ADC_CHANNEL_10;
  sConfig.Rank = 3;
  if (HAL_ADC_ConfigChannel(&hadc1, &sConfig) != HAL_OK)
  {
    Error_Handler();
  }

  /** Configure for the selected ADC regular channel its corresponding rank in the sequencer and its sample time.
  */
  sConfig.Channel = ADC_CHANNEL_5;
  sConfig.Rank = 4;
  if (HAL_ADC_ConfigChannel(&hadc1, &sConfig) != HAL_OK)
  {
    Error_Handler();
  }

  /** Configure for the selected ADC regular channel its corresponding rank in the sequencer and its sample time.
  */
  sConfig.Channel = ADC_CHANNEL_11;
  sConfig.Rank = 5;
  if (HAL_ADC_ConfigChannel(&hadc1, &sConfig) != HAL_OK)
  {
    Error_Handler();
  }

  /** Configure for the selected ADC regular channel its corresponding rank in the sequencer and its sample time.
  */
  sConfig.Channel = ADC_CHANNEL_13;
  sConfig.Rank = 6;
  if (HAL_ADC_ConfigChannel(&hadc1, &sConfig) != HAL_OK)
  {
    Error_Handler();
  }

  /** Configure for the selected ADC regular channel its corresponding rank in the sequencer and its sample time.
  */
  sConfig.Channel = ADC_CHANNEL_0;
  sConfig.Rank = 7;
  if (HAL_ADC_ConfigChannel(&hadc1, &sConfig) != HAL_OK)
  {
    Error_Handler();
  }

  /** Configure for the selected ADC regular channel its corresponding rank in the sequencer and its sample time.
  */
  sConfig.Channel = ADC_CHANNEL_1;
  sConfig.Rank = 8;
  if (HAL_ADC_ConfigChannel(&hadc1, &sConfig) != HAL_OK)
  {
    Error_Handler();
  }

  /** Configure for the selected ADC regular channel its corresponding rank in the sequencer and its sample time.
  */
  sConfig.Channel = ADC_CHANNEL_6;
  sConfig.Rank = 9;
  if (HAL_ADC_ConfigChannel(&hadc1, &sConfig) != HAL_OK)
  {
    Error_Handler();
  }

  /** Configure for the selected ADC regular channel its corresponding rank in the sequencer and its sample time.
  */
  sConfig.Channel = ADC_CHANNEL_14;
  sConfig.Rank = 10;
  if (HAL_ADC_ConfigChannel(&hadc1, &sConfig) != HAL_OK)
  {
    Error_Handler();
  }

  /** Configure for the selected ADC regular channel its corresponding rank in the sequencer and its sample time.
  */
  sConfig.Channel = ADC_CHANNEL_4;
  sConfig.Rank = 11;
  if (HAL_ADC_ConfigChannel(&hadc1, &sConfig) != HAL_OK)
  {
    Error_Handler();
  }

  /** Configure for the selected ADC regular channel its corresponding rank in the sequencer and its sample time.
  */
  sConfig.Channel = ADC_CHANNEL_7;
  sConfig.Rank = 12;
  if (HAL_ADC_ConfigChannel(&hadc1, &sConfig) != HAL_OK)
  {
    Error_Handler();
  }

  /** Configure for the selected ADC regular channel its corresponding rank in the sequencer and its sample time.
  */
  sConfig.Channel = ADC_CHANNEL_15;
  sConfig.Rank = 13;
  if (HAL_ADC_ConfigChannel(&hadc1, &sConfig) != HAL_OK)
  {
    Error_Handler();
  }

  /** Configure for the selected ADC regular channel its corresponding rank in the sequencer and its sample time.
  */
  sConfig.Channel = ADC_CHANNEL_2;
  sConfig.Rank = 14;
  if (HAL_ADC_ConfigChannel(&hadc1, &sConfig) != HAL_OK)
  {
    Error_Handler();
  }

  /** Configure for the selected ADC regular channel its corresponding rank in the sequencer and its sample time.
  */
  sConfig.Channel = ADC_CHANNEL_3;
  sConfig.Rank = 15;
  if (HAL_ADC_ConfigChannel(&hadc1, &sConfig) != HAL_OK)
  {
    Error_Handler();
  }

}

static void MX_CAN1_Init(void)
{

  hcan1.Instance = CAN1;
  hcan1.Init.Prescaler = 6;
  hcan1.Init.Mode = CAN_MODE_NORMAL;
  hcan1.Init.SyncJumpWidth = CAN_SJW_1TQ;
  hcan1.Init.TimeSeg1 = CAN_BS1_11TQ;
  hcan1.Init.TimeSeg2 = CAN_BS2_2TQ;
  hcan1.Init.TimeTriggeredMode = DISABLE;
  hcan1.Init.AutoBusOff = DISABLE;
  hcan1.Init.AutoWakeUp = DISABLE;
  hcan1.Init.AutoRetransmission = DISABLE;
  hcan1.Init.ReceiveFifoLocked = DISABLE;
  hcan1.Init.TransmitFifoPriority = DISABLE;
  if (HAL_CAN_Init(&hcan1) != HAL_OK)
  {
    Error_Handler();
  }

}

static void MX_DMA_Init(void)
{

  /* DMA controller clock enable */
  __HAL_RCC_DMA2_CLK_ENABLE();

  /* DMA interrupt init */
  /* DMA2_Stream0_IRQn interrupt configuration */
  HAL_NVIC_SetPriority(DMA2_Stream0_IRQn, 0, 0);
  HAL_NVIC_EnableIRQ(DMA2_Stream0_IRQn);

}

static void MX_GPIO_Init(void)
{
  GPIO_InitTypeDef GPIO_InitStruct = {0};

  /* GPIO Ports Clock Enable */
  __HAL_RCC_GPIOE_CLK_ENABLE();
  __HAL_RCC_GPIOC_CLK_ENABLE();
  __HAL_RCC_GPIOH_CLK_ENABLE();
  __HAL_RCC_GPIOA_CLK_ENABLE();
  __HAL_RCC_GPIOB_CLK_ENABLE();
  __HAL_RCC_GPIOD_CLK_ENABLE();

  /*Configure GPIO pin Output Level */
  HAL_GPIO_WritePin(GPIOE, EN_F_6_Pin|EN_F_5_Pin|EN_B_4_Pin|EN_B_5_Pin
                          |EN_F_9_Pin|EN_F_10_Pin|EN_B_2_Pin, GPIO_PIN_RESET);

  /*Configure GPIO pin Output Level */
  HAL_GPIO_WritePin(EN_F_2_GPIO_Port, EN_F_2_Pin, GPIO_PIN_RESET);

  /*Configure GPIO pin Output Level */
  HAL_GPIO_WritePin(GPIOA, EN_F_1_Pin|EN_B_3_Pin, GPIO_PIN_RESET);

  /*Configure GPIO pin Output Level */
  HAL_GPIO_WritePin(GPIOD, EN_F_3_Pin|EN_F_4_Pin, GPIO_PIN_RESET);

  /*Configure GPIO pin Output Level */
  HAL_GPIO_WritePin(GPIOB, EN_F_7_Pin|EN_F_8_Pin, GPIO_PIN_RESET);

  /*Configure GPIO pins : EN_F_6_Pin EN_F_5_Pin EN_B_4_Pin EN_B_5_Pin
                           EN_F_9_Pin EN_F_10_Pin EN_B_2_Pin */
  GPIO_InitStruct.Pin = EN_F_6_Pin|EN_F_5_Pin|EN_B_4_Pin|EN_B_5_Pin
                          |EN_F_9_Pin|EN_F_10_Pin|EN_B_2_Pin;
  GPIO_InitStruct.Mode = GPIO_MODE_OUTPUT_PP;
  GPIO_InitStruct.Pull = GPIO_NOPULL;
  GPIO_InitStruct.Speed = GPIO_SPEED_FREQ_LOW;
  HAL_GPIO_Init(GPIOE, &GPIO_InitStruct);

  /*Configure GPIO pins : PGOD_F_9_Pin PGOD_F_10_Pin */
  GPIO_InitStruct.Pin = PGOD_F_9_Pin|PGOD_F_10_Pin;
  GPIO_InitStruct.Mode = GPIO_MODE_INPUT;
  GPIO_InitStruct.Pull = GPIO_NOPULL;
  HAL_GPIO_Init(GPIOE, &GPIO_InitStruct);

  /*Configure GPIO pin : KILL_SWITCH_Pin */
  GPIO_InitStruct.Pin = KILL_SWITCH_Pin;
  GPIO_InitStruct.Mode = GPIO_MODE_IT_RISING_FALLING;
  GPIO_InitStruct.Pull = GPIO_NOPULL;
  HAL_GPIO_Init(KILL_SWITCH_GPIO_Port, &GPIO_InitStruct);

  /*Configure GPIO pin : EN_F_2_Pin */
  GPIO_InitStruct.Pin = EN_F_2_Pin;
  GPIO_InitStruct.Mode = GPIO_MODE_OUTPUT_PP;
  GPIO_InitStruct.Pull = GPIO_NOPULL;
  GPIO_InitStruct.Speed = GPIO_SPEED_FREQ_LOW;
  HAL_GPIO_Init(EN_F_2_GPIO_Port, &GPIO_InitStruct);

  /*Configure GPIO pin : PGOD_F_2_Pin */
  GPIO_InitStruct.Pin = PGOD_F_2_Pin;
  GPIO_InitStruct.Mode = GPIO_MODE_INPUT;
  GPIO_InitStruct.Pull = GPIO_NOPULL;
  HAL_GPIO_Init(PGOD_F_2_GPIO_Port, &GPIO_InitStruct);

  /*Configure GPIO pins : EN_F_1_Pin EN_B_3_Pin */
  GPIO_InitStruct.Pin = EN_F_1_Pin|EN_B_3_Pin;
  GPIO_InitStruct.Mode = GPIO_MODE_OUTPUT_PP;
  GPIO_InitStruct.Pull = GPIO_NOPULL;
  GPIO_InitStruct.Speed = GPIO_SPEED_FREQ_LOW;
  HAL_GPIO_Init(GPIOA, &GPIO_InitStruct);

  /*Configure GPIO pin : PGOD_F_1_Pin */
  GPIO_InitStruct.Pin = PGOD_F_1_Pin;
  GPIO_InitStruct.Mode = GPIO_MODE_INPUT;
  GPIO_InitStruct.Pull = GPIO_NOPULL;
  HAL_GPIO_Init(PGOD_F_1_GPIO_Port, &GPIO_InitStruct);

  /*Configure GPIO pins : EN_F_3_Pin EN_F_4_Pin */
  GPIO_InitStruct.Pin = EN_F_3_Pin|EN_F_4_Pin;
  GPIO_InitStruct.Mode = GPIO_MODE_OUTPUT_PP;
  GPIO_InitStruct.Pull = GPIO_NOPULL;
  GPIO_InitStruct.Speed = GPIO_SPEED_FREQ_LOW;
  HAL_GPIO_Init(GPIOD, &GPIO_InitStruct);

  /*Configure GPIO pins : PGOD_F_3_Pin PGOD_F_4_Pin PGOD_F_5_Pin PGOD_F_6_Pin
                           PGOD_F_7_Pin PGOD_F_8_Pin */
  GPIO_InitStruct.Pin = PGOD_F_3_Pin|PGOD_F_4_Pin|PGOD_F_5_Pin|PGOD_F_6_Pin
                          |PGOD_F_7_Pin|PGOD_F_8_Pin;
  GPIO_InitStruct.Mode = GPIO_MODE_INPUT;
  GPIO_InitStruct.Pull = GPIO_NOPULL;
  HAL_GPIO_Init(GPIOD, &GPIO_InitStruct);

  /*Configure GPIO pins : EN_F_7_Pin EN_F_8_Pin */
  GPIO_InitStruct.Pin = EN_F_7_Pin|EN_F_8_Pin;
  GPIO_InitStruct.Mode = GPIO_MODE_OUTPUT_PP;
  GPIO_InitStruct.Pull = GPIO_NOPULL;
  GPIO_InitStruct.Speed = GPIO_SPEED_FREQ_LOW;
  HAL_GPIO_Init(GPIOB, &GPIO_InitStruct);

  /* EXTI interrupt init*/
  HAL_NVIC_SetPriority(EXTI9_5_IRQn, 0, 0);
  HAL_NVIC_EnableIRQ(EXTI9_5_IRQn);

}

/* USER CODE BEGIN 4 */
void HAL_CAN_RxFifo0MsgPendingCallback(CAN_HandleTypeDef *hcan) {

	if (HAL_CAN_GetRxMessage(hcan, CAN_RX_FIFO0, &rxHeader, rxData) != HAL_OK) {
    errorCounter++;
		return;
	}
	canRecCounter = canRecCounter + 1;

  if (rxHeader.IDE != CAN_ID_EXT) return;

  CAN_queue_element element;

  element.priority = (rxHeader.ExtId >> 27) & 0x03;
  element.sender = (rxHeader.ExtId >> 23) & 0x0F;
  element.receiver = (rxHeader.ExtId >> 19) & 0x0F;
  element.message_id = (rxHeader.ExtId >> 9) & 0x3FF;
  element.seq_type = (rxHeader.ExtId >> 7) & 0x03;
  element.seq_count = rxHeader.ExtId & 0x7F;
  element.dlc = rxHeader.DLC;

  if(element.receiver != EPS_ID && element.receiver != BROADCAST_ID) return;
  for (uint8_t i = 0; i < element.dlc; i++) {
      element.payload[i] = rxData[i];
  }
  uint8_t ok;
  if(CAN_IsHighPriority(element.message_id)) {
    ok = CAN_QueuePush(high_queue, &high_head, &high_tail, &element);
  }else {
    ok = CAN_QueuePush(low_queue, &low_head, &low_tail, &element);
  }
  if(!ok) {
    queue_overflow_counter++;
  }

}

void HAL_GPIO_EXTI_Callback(uint16_t GPIO_Pin){
  if (GPIO_Pin == KILL_SWITCH_Pin){
        killSwitchChanged = 1;
        return;
  }
  for (uint8_t ch = 2; ch <= 10; ch++) {
        if (GPIO_Pin == pgodPinMap[ch].pin) {
            EPS_Set_Fuse_State(gpioFUSE_map[ch].port, gpioFUSE_map[ch].pin, GPIO_PIN_RESET);   // immediate shutdown
            pgodFaultFlags |= (1 << ch);                  // signal main loop
            return;
        }
    }
}

/* USER CODE END 4 */

void Error_Handler(void)
{
  __disable_irq();
  while (1)
  {
  }
}
